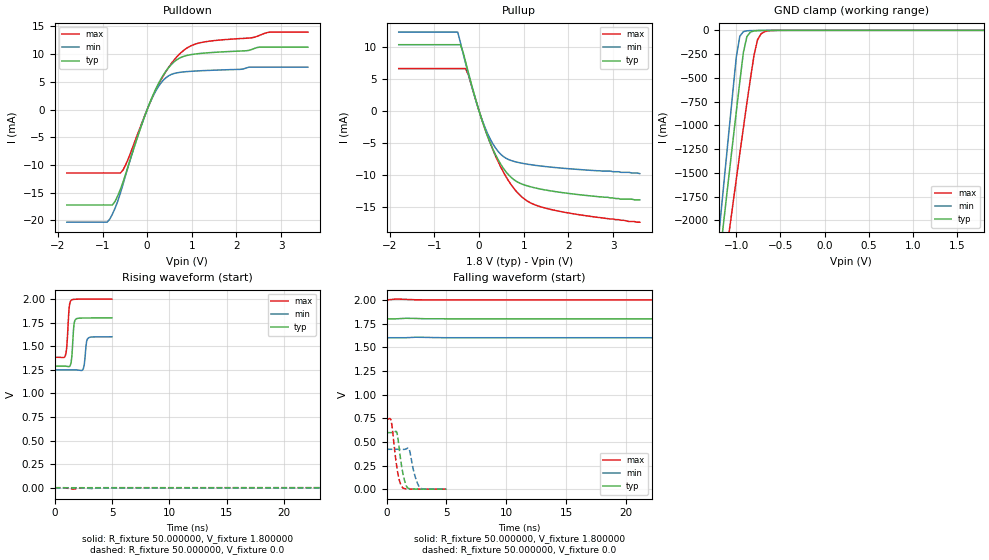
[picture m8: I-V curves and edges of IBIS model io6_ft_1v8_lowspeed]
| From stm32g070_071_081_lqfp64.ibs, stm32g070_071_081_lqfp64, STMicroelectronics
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|   Model io6_ft_1v8_lowspeed
[Model]  io6_ft_1v8_lowspeed
Model_type I/O
Polarity   Non-Inverting
Enable   Active-Low
Vinl =   0.540000V
Vinh =   1.260000V
Vmeas =  0.900000V
Cref =   30.000000pF
Rref =   100.000000M
Vref =   0.0V
C_comp   1.277600pF   1.236700pF   1.315100pF
[Temperature Range]   25.000000   -40.000000   0.125000k
[Pullup Reference]   1.800000V   1.600000V   2.000000V
[Pulldown Reference]   0.0V   0.0V   0.0V
[POWER Clamp Reference]   1.800000V   1.600000V   2.000000V
[GND Clamp Reference]   0.0V   0.0V   0.0V
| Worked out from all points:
|   slope of the pulldown table from 0 to 0.27 V, typ, clamps not added: 54.7 ohm
|   slope of the pullup table from 0 to 0.27 V, typ, clamps not added: 50.6 ohm
|   GND clamp passes 1 mA (typ) near -0.66 V on its own axis
|   rising waveform, R_fixture 50.000000, V_fixture 1.800000: 20-80 % time 165ps typ, 169ps min, 180ps max; typ from 1.29 V to 1.8 V
|   rising waveform, R_fixture 50.000000, V_fixture 0.0: 20-80 % time 98.3ns typ, 95.5ns min, 113ns max; typ from 0 V to 0.598 V
|   falling waveform, R_fixture 50.000000, V_fixture 1.800000: 20-80 % time 97.2ns typ, 101ns min, 95.8ns max; typ from 1.8 V to 1.29 V
|   falling waveform, R_fixture 50.000000, V_fixture 0.0: 20-80 % time 437ps typ, 477ps min, 447ps max; typ from 0.598 V to 0 V
[Pulldown]
|Voltage   I(typ)   I(min)   I(max)
-1.8V     -17.22mA   -20.33mA   -11.45mA
-900mV    -17.22mA   -20.33mA   -11.45mA
-720mV    -16.58mA   -17.82mA   -11.45mA
-600mV    -14.41mA   -15.08mA   -11.45mA
-480mV    -11.58mA   -11.79mA   -9.954mA
0V        10fA       11fA       0A
240mV     4.49mA     3.999mA    4.291mA
480mV     7.563mA    6.085mA    7.612mA
780mV     9.487mA    6.76mA     10.43mA
1.14V     10.08mA    6.976mA    11.96mA
2.76V     11.26mA    7.652mA    13.98mA
3.6V      11.26mA    7.652mA    13.98mA
[Pullup]
|Voltage   I(typ)   I(min)   I(max)
-1.8V     10.37mA    12.35mA    6.631mA
-480mV    10.37mA    12.35mA    6.631mA
-420mV    10.37mA    10.77mA    6.631mA
-300mV    7.616mA    7.38mA     6.631mA
-240mV    5.996mA    5.774mA    5.613mA
-60mV     1.422mA    1.342mA    1.368mA
120mV     -2.605mA   -2.366mA   -2.563mA
360mV     -6.731mA   -5.708mA   -6.907mA
600mV     -9.499mA   -7.385mA   -10.25mA
960mV     -11.43mA   -8.172mA   -13.47mA
1.32V     -12.13mA   -8.557mA   -14.86mA
3.6V      -13.9mA    -9.8mA     -17.4mA
[GND_clamp]
|Voltage   I(typ)   I(min)   I(max)
-1.8V     -7.471A    -7.973A    -7.298A
-1.2V     -2.489A    -2.18A     -2.954A
-1.16V    -2.16A     -1.797A    -2.674A
-1.08V    -1.505A    -1.034A    -2.118A
-1V       -857.9mA   -283.1mA   -1.568A
-960mV    -540.4mA   -62.14mA   -1.296A
-920mV    -234.4mA   -13.75mA   -1.028A
-880mV    -66.29mA   -4.855mA   -765.3mA
-800mV    -6.505mA   -2.056mA   -266mA
-760mV    -3.074mA   -1.45mA    -100.4mA
-680mV    -1.215mA   -557.1uA   -14.19mA
1.8V      0A         0A         0A
[POWER_clamp]
|Voltage   I(typ)   I(min)   I(max)
-1.8V     0A         0A         0A
0V        0A         0A         0A
[Ramp]
| variable   typ   min   max
dV/dt_r  0.35701/98.22318n   0.25147/95.47453n   0.43805/0.11268u
dV/dt_f  0.30018/97.04176n   0.19776/0.10048u   0.36564/95.79000n
R_load = 50.000000
[Rising Waveform]
R_fixture= 50.000000
V_fixture= 1.800000
V_fixture_min= 1.600000
V_fixture_max= 2.000000
|time   V(typ)   V(min)   V(max)
0s        1.29V      1.249V     1.383V
940.9ps   1.289V     1.249V     1.409V
1.061ns   1.287V     1.249V     1.515V
1.261ns   1.285V     1.249V     1.913V
1.421ns   1.329V     1.249V     1.985V
1.672ns   1.722V     1.249V     1.997V
1.852ns   1.788V     1.249V     1.998V
2.482ns   1.799V     1.26V      2V
2.893ns   1.8V       1.583V     2V
4.985ns   1.8V       1.6V       2V
[Rising Waveform]
R_fixture= 50.000000
V_fixture= 0.0
V_fixture_min= 0.0
V_fixture_max= 0.0
|time   V(typ)   V(min)   V(max)
0s        -200.9nV   1.601uV    485nV
1.602ns   -1.318mV   -4.562uV   -15.15mV
36.84ns   156.4uV    -27.8uV    8.957mV
63.26ns   28.2mV     72.48uV    79.22mV
92.09ns   136mV      25.52mV    210.1mV
144.1ns   360.3mV    187.2mV    448.3mV
171.4ns   443.2mV    264.4mV    538mV
204.2ns   509.5mV    330.6mV    614.7mV
274.7ns   574.3mV    397.8mV    698.8mV
398.8ns   597.9mV    421.2mV    736.3mV
[Falling Waveform]
R_fixture= 50.000000
V_fixture= 1.800000
V_fixture_min= 1.600000
V_fixture_max= 2.000000
|time   V(typ)   V(min)   V(max)
0s        1.8V       1.6V       2V
52.05ns   1.8V       1.6V       1.983V
68.07ns   1.798V     1.6V       1.943V
92.09ns   1.774V     1.6V       1.851V
118.5ns   1.707V     1.599V     1.73V
147.3ns   1.602V     1.587V     1.605V
194.6ns   1.441V     1.511V     1.484V
233ns     1.37V      1.418V     1.438V
288.3ns   1.322V     1.317V     1.406V
398.8ns   1.29V      1.249V     1.383V
[Falling Waveform]
R_fixture= 50.000000
V_fixture= 0.0
V_fixture_min= 0.0
V_fixture_max= 0.0
|time   V(typ)   V(min)   V(max)
0s        597.9mV    421.2mV    736.3mV
390.4ps   597.4mV    421.3mV    710.6mV
830.8ps   603.2mV    421.5mV    247.8mV
1.081ns   394.7mV    421.5mV    84.11mV
1.321ns   190.5mV    420.9mV    17.3mV
1.572ns   58.37mV    422.8mV    3.714mV
1.862ns   6.504mV    427.8mV    1.544mV
2.362ns   1.256mV    141mV      603.4uV
2.823ns   477.3uV    11.23mV    326.6uV
4.985ns   -200.9nV   1.601uV    485nV
